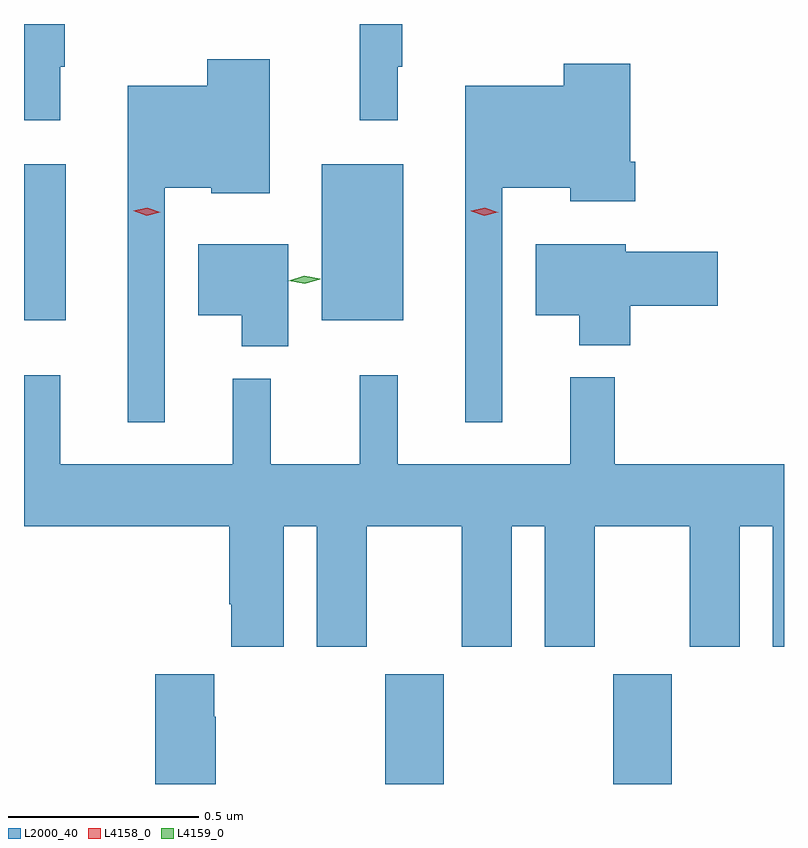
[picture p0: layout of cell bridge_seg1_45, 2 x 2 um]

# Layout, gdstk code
import gdstk
lib = gdstk.Library(unit=1e-6, precision=1e-09)
def R(c, l, rs):  # rectangles x0, y0, x1, y1
    for r in rs: c.add(gdstk.rectangle(r[:2], r[2:], *l))
def P(c, l, *ps):  # polygons
    for p in ps: c.add(gdstk.Polygon(p, *l))
L2000_40 = (2000, 40)
L4158_0 = (4158, 0)
L4159_0 = (4159, 0)

bridge_seg1_45 = lib.new_cell('bridge_seg1_45')
R(bridge_seg1_45, L2000_40, [(1073.503,523.082,1073.658,523.371), (1074.103,523.082,1074.258,523.371), (1072.553,524.303,1072.663,524.713), (1073.336,524.303,1073.551,524.713)])
P(bridge_seg1_45, L2000_40, [(1073.536,524.969),(1073.548,524.969),(1073.548,525.082),(1073.437,525.082),(1073.437,524.829),(1073.536,524.829)],
  [(1072.648,524.969),(1072.66,524.969),(1072.66,525.082),(1072.553,525.082),(1072.553,524.829),(1072.648,524.829)],
  [(1072.923,524.651),(1073.046,524.651),(1073.046,524.636),(1073.2,524.636),(1073.2,524.989),(1073.035,524.989),(1073.035,524.92),(1072.826,524.92),(1072.826,524.034),(1072.923,524.034)],
  [(1073.811,524.651),(1073.99,524.651),(1073.99,524.615),(1074.161,524.615),(1074.161,524.719),(1074.148,524.719),(1074.148,524.977),(1073.973,524.977),(1073.973,524.92),(1073.714,524.92),(1073.714,524.034),(1073.811,524.034)],
  [(1073.248,524.503),(1073.012,524.503),(1073.012,524.315),(1073.126,524.315),(1073.126,524.234),(1073.248,524.234)],
  [(1074.149,524.341),(1074.379,524.341),(1074.379,524.483),(1074.136,524.483),(1074.136,524.503),(1073.9,524.503),(1073.9,524.315),(1074.014,524.315),(1074.014,524.237),(1074.149,524.237)],
  [(1073.236,523.76),(1073.324,523.76),(1073.324,523.443),(1073.455,523.443),(1073.455,523.76),(1073.705,523.76),(1073.705,523.443),(1073.836,523.443),(1073.836,523.76),(1073.924,523.76),(1073.924,523.443),(1074.055,523.443),(1074.055,523.76),(1074.305,523.76),(1074.305,523.443),(1074.436,523.443),(1074.436,523.76),(1074.524,523.76),(1074.524,523.443),(1074.553,523.443),(1074.553,523.924),(1074.107,523.924),(1074.107,524.152),(1073.99,524.152),(1073.99,523.924),(1073.537,523.924),(1073.537,524.158),(1073.437,524.158),(1073.437,523.924),(1073.202,523.924),(1073.202,524.149),(1073.102,524.149),(1073.102,523.924),(1072.649,523.924),(1072.649,524.158),(1072.553,524.158),(1072.553,523.76),(1073.093,523.76),(1073.093,523.555),(1073.099,523.555),(1073.099,523.443),(1073.236,523.443)],
  [(1073.058,523.259),(1073.053,523.259),(1073.053,523.371),(1072.898,523.371),(1072.898,523.082),(1073.058,523.082)])
P(bridge_seg1_45, L4158_0, [(1073.764,524.578),(1073.73,524.589),(1073.729,524.59),(1073.73,524.59),(1073.766,524.598),(1073.8,524.586),(1073.801,524.586),(1073.8,524.586)],
  [(1072.876,524.578),(1072.841,524.59),(1072.841,524.59),(1072.841,524.59),(1072.877,524.598),(1072.912,524.587),(1072.912,524.587),(1072.912,524.587)])
P(bridge_seg1_45, L4159_0, [(1073.292,524.399),(1073.25,524.407),(1073.25,524.407),(1073.25,524.407),(1073.291,524.419),(1073.332,524.411),(1073.332,524.411),(1073.332,524.41)])

lib.write_gds('bridge_seg1_45.gds')
